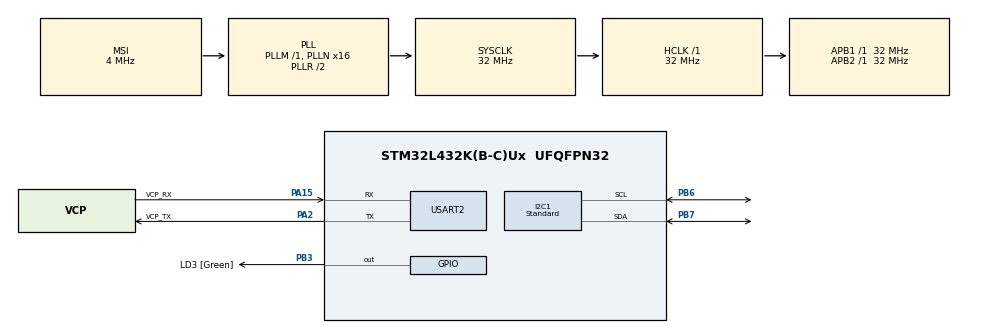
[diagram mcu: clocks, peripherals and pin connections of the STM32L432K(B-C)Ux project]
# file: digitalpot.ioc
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I2C1.I2C_Speed_Mode=I2C_Standard
I2C1.Timing=0x00707CBB
Mcu.Family=STM32L4
Mcu.Name=STM32L432K(B-C)Ux
Mcu.Package=UFQFPN32
NVIC.PriorityGroup=NVIC_PRIORITYGROUP_4
PA0.GPIO_Label=MCO [High speed clock in]
PA0.Mode=HSE-External-Clock-Source-for-LittleOrca
PA0.Signal=RCC_CK_IN
PA13\ (JTMS-SWDIO).GPIO_Label=SWDIO
PA13\ (JTMS-SWDIO).Mode=Serial_Wire
PA13\ (JTMS-SWDIO).Signal=SYS_JTMS-SWDIO
PA14\ (JTCK-SWCLK).GPIO_Label=SWCLK
PA14\ (JTCK-SWCLK).Mode=Serial_Wire
PA14\ (JTCK-SWCLK).Signal=SYS_JTCK-SWCLK
PA15\ (JTDI).GPIO_Label=VCP_RX
PA15\ (JTDI).Mode=Asynchronous
PA15\ (JTDI).Signal=USART2_RX
PA2.GPIO_Label=VCP_TX
PA2.Mode=Asynchronous
PA2.Signal=USART2_TX
PB3\ (JTDO-TRACESWO).GPIO_Label=LD3 [Green]
PB3\ (JTDO-TRACESWO).Signal=GPIO_Output
PB6.Mode=I2C
PB6.Signal=I2C1_SCL
PB7.Mode=I2C
PB7.Signal=I2C1_SDA
PC14-OSC32_IN\ (PC14).Mode=LSE-External-Oscillator
PC14-OSC32_IN\ (PC14).Signal=RCC_OSC32_IN
PC15-OSC32_OUT\ (PC15).Mode=LSE-External-Oscillator
PC15-OSC32_OUT\ (PC15).Signal=RCC_OSC32_OUT
ProjectManager.HeapSize=0x200
ProjectManager.StackSize=0x400
ProjectManager.TargetToolchain=TrueSTUDIO
RCC.AHBFreq_Value=32000000
RCC.APB1Freq_Value=32000000
RCC.APB1TimFreq_Value=32000000
RCC.APB2Freq_Value=32000000
RCC.APB2TimFreq_Value=32000000
RCC.CortexFreq_Value=32000000
RCC.HCLKFreq_Value=32000000
RCC.HSE_VALUE=8000000
RCC.HSI16_VALUE=16000000
RCC.HSI48_VALUE=48000000
RCC.HSI_VALUE=16000000
RCC.MSI_VALUE=4000000
RCC.PLLMUL=RCC_PLLMUL_4
RCC.PLLN=16
RCC.SYSCLKFreq_VALUE=32000000
RCC.SYSCLKSource=RCC_SYSCLKSOURCE_PLLCLK
RCC.VCOOutputFreq_Value=64000000
USART2.VirtualMode-Asynchronous=VM_ASYNC
USART2.WordLength=WORDLENGTH_8B
board=NUCLEO-L432KC

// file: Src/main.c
/**
  ******************************************************************************
  * @file           : main.c
  * @brief          : Main program body
  ******************************************************************************
  ** This notice applies to any and all portions of this file
  * that are not between comment pairs USER CODE BEGIN and
  * USER CODE END. Other portions of this file, whether
  * inserted by the user or by software development tools
  * are owned by their respective copyright owners.
  *
  * COPYRIGHT(c) 2018 STMicroelectronics
  *
  * Redistribution and use in source and binary forms, with or without modification,
  * are permitted provided that the following conditions are met:
  *   1. Redistributions of source code must retain the above copyright notice,
  *      this list of conditions and the following disclaimer.
  *   2. Redistributions in binary form must reproduce the above copyright notice,
  *      this list of conditions and the following disclaimer in the documentation
  *      and/or other materials provided with the distribution.
  *   3. Neither the name of STMicroelectronics nor the names of its contributors
  *      may be used to endorse or promote products derived from this software
  *      without specific prior written permission.
  *
  * THIS SOFTWARE IS PROVIDED BY THE COPYRIGHT HOLDERS AND CONTRIBUTORS "AS IS"
  * AND ANY EXPRESS OR IMPLIED WARRANTIES, INCLUDING, BUT NOT LIMITED TO, THE
  * IMPLIED WARRANTIES OF MERCHANTABILITY AND FITNESS FOR A PARTICULAR PURPOSE ARE
  * DISCLAIMED. IN NO EVENT SHALL THE COPYRIGHT HOLDER OR CONTRIBUTORS BE LIABLE
  * FOR ANY DIRECT, INDIRECT, INCIDENTAL, SPECIAL, EXEMPLARY, OR CONSEQUENTIAL
  * DAMAGES (INCLUDING, BUT NOT LIMITED TO, PROCUREMENT OF SUBSTITUTE GOODS OR
  * SERVICES; LOSS OF USE, DATA, OR PROFITS; OR BUSINESS INTERRUPTION) HOWEVER
  * CAUSED AND ON ANY THEORY OF LIABILITY, WHETHER IN CONTRACT, STRICT LIABILITY,
  * OR TORT (INCLUDING NEGLIGENCE OR OTHERWISE) ARISING IN ANY WAY OUT OF THE USE
  * OF THIS SOFTWARE, EVEN IF ADVISED OF THE POSSIBILITY OF SUCH DAMAGE.
  *
  ******************************************************************************
  */
#include "main.h"
#include "stm32l4xx_hal.h"

I2C_HandleTypeDef hi2c1;

UART_HandleTypeDef huart2;

/* USER CODE BEGIN PV */
/* Private variables ---------------------------------------------------------*/

/* USER CODE END PV */

void SystemClock_Config(void);
static void MX_GPIO_Init(void);
static void MX_USART2_UART_Init(void);
static void MX_I2C1_Init(void);

/* USER CODE BEGIN PFP */
/* Private function prototypes -----------------------------------------------*/

/* USER CODE END PFP */

/* USER CODE BEGIN 0 */

#define MCP4551_ADDRESS     0x2e
#define MCP4018_ADDRESS     0x2f

/* USER CODE END 0 */

int main(void)
{

  /* MCU Configuration----------------------------------------------------------*/

  /* Reset of all peripherals, Initializes the Flash interface and the Systick. */
  HAL_Init();

  /* Configure the system clock */
  SystemClock_Config();

  /* Initialize all configured peripherals */
  MX_GPIO_Init();
  MX_USART2_UART_Init();
  MX_I2C1_Init();
  /* USER CODE BEGIN 2 */

  uint8_t data_mcp4551[2] = {0, 0};
  uint8_t data_mcp4018 = 0;
  /* USER CODE END 2 */

  /* Infinite loop */
  while (1)
  {

  /* USER CODE BEGIN 3 */
      HAL_StatusTypeDef rc;

      // MCP4551 address: 0x2e (A0=GND), write wiper command=0x00
      rc = HAL_I2C_Master_Transmit(&hi2c1, MCP4551_ADDRESS << 1, data_mcp4551, 2, HAL_MAX_DELAY);

      if (rc != HAL_OK) {
         printf("Error addr=0x%x %d\r\n", MCP4551_ADDRESS, rc);
      }

      // MCP4018 address: 0x2f, send directly the wiper value (7-bits)
      rc = HAL_I2C_Master_Transmit(&hi2c1, MCP4018_ADDRESS << 1, &data_mcp4018, 1, HAL_MAX_DELAY);

      if (rc != HAL_OK) {
         printf("Error addr=0x%x %d\r\n", MCP4018_ADDRESS, rc);
      }

      // Increment the wiper value and let it overflow
      ++data_mcp4551[1];

      // Clamp to 7-bits
      if (++data_mcp4018 > 127) {
          data_mcp4018 = 0;
      }

      HAL_GPIO_TogglePin(LD3_GPIO_Port, LD3_Pin);
      HAL_Delay(20);

  }
  /* USER CODE END 3 */

}

void SystemClock_Config(void)
{

  RCC_OscInitTypeDef RCC_OscInitStruct;
  RCC_ClkInitTypeDef RCC_ClkInitStruct;
  RCC_PeriphCLKInitTypeDef PeriphClkInit;

    /**Configure LSE Drive Capability
    */
  __HAL_RCC_LSEDRIVE_CONFIG(RCC_LSEDRIVE_LOW);

    /**Initializes the CPU, AHB and APB busses clocks
    */
  RCC_OscInitStruct.OscillatorType = RCC_OSCILLATORTYPE_LSE|RCC_OSCILLATORTYPE_MSI;
  RCC_OscInitStruct.LSEState = RCC_LSE_ON;
  RCC_OscInitStruct.MSIState = RCC_MSI_ON;
  RCC_OscInitStruct.MSICalibrationValue = 0;
  RCC_OscInitStruct.MSIClockRange = RCC_MSIRANGE_6;
  RCC_OscInitStruct.PLL.PLLState = RCC_PLL_ON;
  RCC_OscInitStruct.PLL.PLLSource = RCC_PLLSOURCE_MSI;
  RCC_OscInitStruct.PLL.PLLM = 1;
  RCC_OscInitStruct.PLL.PLLN = 16;
  RCC_OscInitStruct.PLL.PLLP = RCC_PLLP_DIV7;
  RCC_OscInitStruct.PLL.PLLQ = RCC_PLLQ_DIV2;
  RCC_OscInitStruct.PLL.PLLR = RCC_PLLR_DIV2;
  if (HAL_RCC_OscConfig(&RCC_OscInitStruct) != HAL_OK)
  {
    _Error_Handler(__FILE__, __LINE__);
  }

    /**Initializes the CPU, AHB and APB busses clocks
    */
  RCC_ClkInitStruct.ClockType = RCC_CLOCKTYPE_HCLK|RCC_CLOCKTYPE_SYSCLK
                              |RCC_CLOCKTYPE_PCLK1|RCC_CLOCKTYPE_PCLK2;
  RCC_ClkInitStruct.SYSCLKSource = RCC_SYSCLKSOURCE_PLLCLK;
  RCC_ClkInitStruct.AHBCLKDivider = RCC_SYSCLK_DIV1;
  RCC_ClkInitStruct.APB1CLKDivider = RCC_HCLK_DIV1;
  RCC_ClkInitStruct.APB2CLKDivider = RCC_HCLK_DIV1;

  if (HAL_RCC_ClockConfig(&RCC_ClkInitStruct, FLASH_LATENCY_1) != HAL_OK)
  {
    _Error_Handler(__FILE__, __LINE__);
  }

  PeriphClkInit.PeriphClockSelection = RCC_PERIPHCLK_USART2|RCC_PERIPHCLK_I2C1;
  PeriphClkInit.Usart2ClockSelection = RCC_USART2CLKSOURCE_PCLK1;
  PeriphClkInit.I2c1ClockSelection = RCC_I2C1CLKSOURCE_PCLK1;
  if (HAL_RCCEx_PeriphCLKConfig(&PeriphClkInit) != HAL_OK)
  {
    _Error_Handler(__FILE__, __LINE__);
  }

    /**Configure the main internal regulator output voltage
    */
  if (HAL_PWREx_ControlVoltageScaling(PWR_REGULATOR_VOLTAGE_SCALE1) != HAL_OK)
  {
    _Error_Handler(__FILE__, __LINE__);
  }

    /**Configure the Systick interrupt time
    */
  HAL_SYSTICK_Config(HAL_RCC_GetHCLKFreq()/1000);

    /**Configure the Systick
    */
  HAL_SYSTICK_CLKSourceConfig(SYSTICK_CLKSOURCE_HCLK);

    /**Enable MSI Auto calibration
    */
  HAL_RCCEx_EnableMSIPLLMode();

  /* SysTick_IRQn interrupt configuration */
  HAL_NVIC_SetPriority(SysTick_IRQn, 0, 0);
}

/* I2C1 init function */
static void MX_I2C1_Init(void)
{

  hi2c1.Instance = I2C1;
  hi2c1.Init.Timing = 0x00707CBB;
  hi2c1.Init.OwnAddress1 = 0;
  hi2c1.Init.AddressingMode = I2C_ADDRESSINGMODE_7BIT;
  hi2c1.Init.DualAddressMode = I2C_DUALADDRESS_DISABLE;
  hi2c1.Init.OwnAddress2 = 0;
  hi2c1.Init.OwnAddress2Masks = I2C_OA2_NOMASK;
  hi2c1.Init.GeneralCallMode = I2C_GENERALCALL_DISABLE;
  hi2c1.Init.NoStretchMode = I2C_NOSTRETCH_DISABLE;
  if (HAL_I2C_Init(&hi2c1) != HAL_OK)
  {
    _Error_Handler(__FILE__, __LINE__);
  }

    /**Configure Analogue filter
    */
  if (HAL_I2CEx_ConfigAnalogFilter(&hi2c1, I2C_ANALOGFILTER_ENABLE) != HAL_OK)
  {
    _Error_Handler(__FILE__, __LINE__);
  }

    /**Configure Digital filter
    */
  if (HAL_I2CEx_ConfigDigitalFilter(&hi2c1, 0) != HAL_OK)
  {
    _Error_Handler(__FILE__, __LINE__);
  }

}

/* USART2 init function */
static void MX_USART2_UART_Init(void)
{

  huart2.Instance = USART2;
  huart2.Init.BaudRate = 115200;
  huart2.Init.WordLength = UART_WORDLENGTH_8B;
  huart2.Init.StopBits = UART_STOPBITS_1;
  huart2.Init.Parity = UART_PARITY_NONE;
  huart2.Init.Mode = UART_MODE_TX_RX;
  huart2.Init.HwFlowCtl = UART_HWCONTROL_NONE;
  huart2.Init.OverSampling = UART_OVERSAMPLING_16;
  huart2.Init.OneBitSampling = UART_ONE_BIT_SAMPLE_DISABLE;
  huart2.AdvancedInit.AdvFeatureInit = UART_ADVFEATURE_NO_INIT;
  if (HAL_UART_Init(&huart2) != HAL_OK)
  {
    _Error_Handler(__FILE__, __LINE__);
  }

}

/** Configure pins as
        * Analog
        * Input
        * Output
        * EVENT_OUT
        * EXTI
*/
static void MX_GPIO_Init(void)
{

  GPIO_InitTypeDef GPIO_InitStruct;

  /* GPIO Ports Clock Enable */
  __HAL_RCC_GPIOC_CLK_ENABLE();
  __HAL_RCC_GPIOA_CLK_ENABLE();
  __HAL_RCC_GPIOB_CLK_ENABLE();

  /*Configure GPIO pin Output Level */
  HAL_GPIO_WritePin(LD3_GPIO_Port, LD3_Pin, GPIO_PIN_RESET);

  /*Configure GPIO pin : LD3_Pin */
  GPIO_InitStruct.Pin = LD3_Pin;
  GPIO_InitStruct.Mode = GPIO_MODE_OUTPUT_PP;
  GPIO_InitStruct.Pull = GPIO_NOPULL;
  GPIO_InitStruct.Speed = GPIO_SPEED_FREQ_LOW;
  HAL_GPIO_Init(LD3_GPIO_Port, &GPIO_InitStruct);

}

void _Error_Handler(char *file, int line)
{
  while(1)
  {
  }
}

/************************ (C) COPYRIGHT STMicroelectronics *****END OF FILE****/
